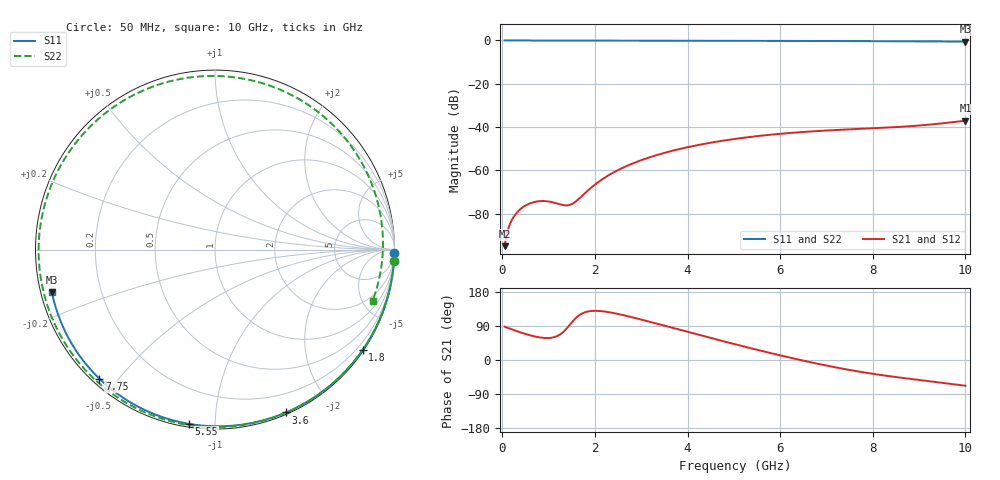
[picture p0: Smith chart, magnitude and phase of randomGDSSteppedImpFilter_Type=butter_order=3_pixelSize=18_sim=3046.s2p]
! freq	dB(S11)	phase(S11)	dB(S12)	phase(S12)
!  dB(S21)	phase(S21)	dB(S22)	phase(S22)
!S-par simulation data
#  GHz  S  DB  R 50
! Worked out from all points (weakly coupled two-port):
!   200 points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, 50 MHz to 10 GHz, reference 50 ohm
!   highest |S21| = -37.05 dB at 10 GHz (marker M1); lowest = -95.0 dB at 50 MHz (marker M2)
!   lowest |S11| = -0.5 dB at 10 GHz (marker M3), VSWR 31.95, Z = 1.59 - j6.45 ohm
!   |S11| at or under -10 dB: nowhere
!   |S22| runs from -0.7 to 0.0 dB; largest |S21 - S12| = 0
!   S11 on the Smith chart (normalised r, x): 50 MHz: open; 1.8 GHz: 0.03, -3.25; 3.6 GHz: 0.02, -1.53; 5.55 GHz: 0.02, -0.86; 7.75 GHz: 0.02, -0.45; 10 GHz: 0.03, -0.13
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0.05  -0.00 -1.0  -95.03 87.8  -95.03 87.8  -0.00 -3.6
0.3  -0.01 -5.8  -79.90 76.8  -79.90 76.8  -0.03 -21.4
0.45  -0.01 -8.7  -76.94 70.7  -76.94 70.7  -0.05 -31.8
0.65  -0.02 -12.5  -74.88 63.6  -74.88 63.6  -0.06 -45.3
0.9  -0.02 -17.3  -74.19 58.3  -74.19 58.3  -0.07 -61.3
1.4  -0.03 -26.7  -76.20 84.6  -76.20 84.6  -0.10 -90.1
1.55  -0.04 -29.6  -74.96 106.0  -74.96 106.0  -0.10 -97.8
1.75  -0.04 -33.3  -71.25 124.2  -71.25 124.2  -0.11 -107.6
1.8  -0.04 -34.2  -70.26 126.5  -70.26 126.5  -0.11 -110.0
2.15  -0.05 -40.7  -64.27 128.8  -64.27 128.8  -0.12 -125.5
2.55  -0.06 -47.9  -59.35 120.2  -59.35 120.2  -0.13 -141.4
3.4  -0.08 -63.0  -52.54 93.9  -52.54 93.9  -0.14 -170.7
3.6  -0.09 -66.4  -51.36 87.4  -51.36 87.4  -0.15 -177.0
4.3  -0.11 -78.3  -48.01 64.6  -48.01 64.6  -0.17 162.0
5.05  -0.14 -90.5  -45.41 40.8  -45.41 40.8  -0.20 140.4
5.55  -0.16 -98.5  -44.08 25.5  -44.08 25.5  -0.22 126.0
6.7  -0.23 -116.2  -41.99 -7.0  -41.99 -7.0  -0.28 92.1
7.25  -0.26 -124.4  -41.33 -20.7  -41.33 -20.7  -0.32 75.0
7.75  -0.30 -131.8  -40.84 -31.6  -40.84 -31.6  -0.36 58.9
8.35  -0.36 -140.7  -40.23 -42.6  -40.23 -42.6  -0.41 39.0
9.2  -0.45 -153.3  -38.92 -55.5  -38.92 -55.5  -0.53 9.9
10  -0.54 -165.3  -37.05 -67.9  -37.05 -67.9  -0.70 -18.0
